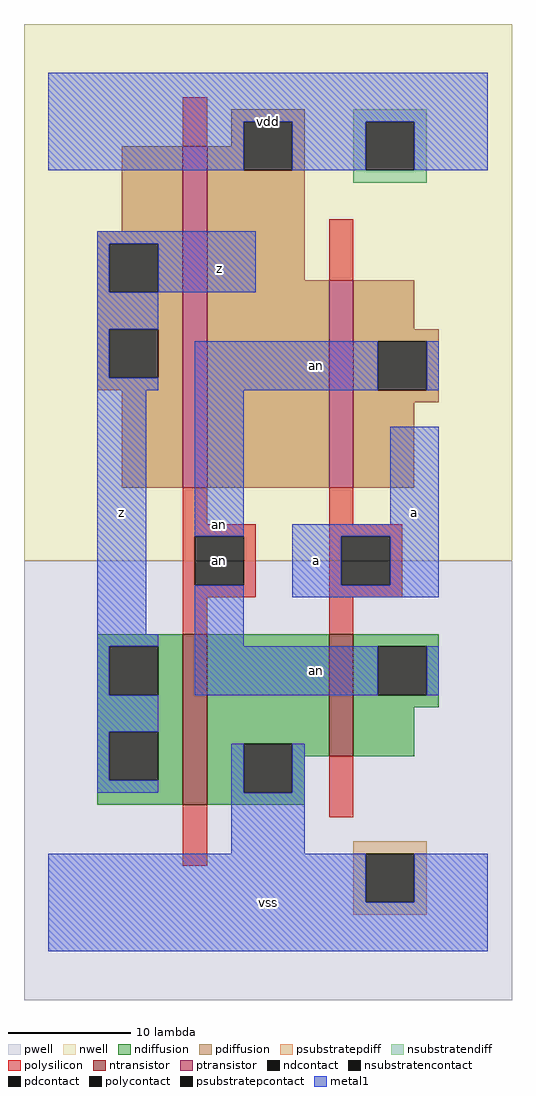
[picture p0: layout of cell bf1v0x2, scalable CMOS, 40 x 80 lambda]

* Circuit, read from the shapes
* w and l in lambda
.subckt bf1v0x2 a an vdd vss z
M1 vss an z vss nfet w=14 l=2
M2 an a vss vss nfet w=10 l=2
M3 vdd an z vdd pfet w=28 l=2
M4 an a vdd vdd pfet w=17 l=2
.ends

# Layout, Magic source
magic
tech scmos
<< pwell >>
rect -4 -4 36 32
<< nwell >>
rect -4 32 36 76
<< polysilicon >>
rect 9 66 11 70
rect 21 55 23 60
rect 9 35 11 38
rect 21 35 23 38
rect 9 34 15 35
rect 9 30 10 34
rect 14 30 15 34
rect 9 29 15 30
rect 21 34 27 35
rect 21 30 22 34
rect 26 30 27 34
rect 21 29 27 30
rect 9 26 11 29
rect 21 26 23 29
rect 9 7 11 12
rect 21 11 23 16
<< ndiffusion >>
rect 2 25 9 26
rect 2 21 3 25
rect 7 21 9 25
rect 2 18 9 21
rect 2 14 3 18
rect 7 14 9 18
rect 2 12 9 14
rect 11 17 21 26
rect 11 13 14 17
rect 18 16 21 17
rect 23 25 30 26
rect 23 21 25 25
rect 29 21 30 25
rect 23 20 30 21
rect 23 16 28 20
rect 18 13 19 16
rect 11 12 19 13
<< pdiffusion >>
rect 13 68 19 69
rect 13 66 14 68
rect 4 59 9 66
rect 2 58 9 59
rect 2 54 3 58
rect 7 54 9 58
rect 2 51 9 54
rect 2 47 3 51
rect 7 47 9 51
rect 2 46 9 47
rect 4 38 9 46
rect 11 64 14 66
rect 18 64 19 68
rect 11 55 19 64
rect 11 38 21 55
rect 23 51 28 55
rect 23 50 30 51
rect 23 46 25 50
rect 29 46 30 50
rect 23 45 30 46
rect 23 38 28 45
<< metal1 >>
rect -2 68 34 72
rect -2 64 14 68
rect 18 64 24 68
rect 28 64 34 68
rect 2 58 15 59
rect 2 54 3 58
rect 7 54 15 58
rect 2 51 7 54
rect 2 47 3 51
rect 2 46 7 47
rect 10 46 25 50
rect 29 46 30 50
rect 2 26 6 46
rect 10 34 14 46
rect 26 35 30 43
rect 2 25 7 26
rect 2 21 3 25
rect 10 25 14 30
rect 18 34 30 35
rect 18 30 22 34
rect 26 30 30 34
rect 18 29 30 30
rect 10 21 25 25
rect 29 21 30 25
rect 2 18 7 21
rect 2 14 3 18
rect 2 13 7 14
rect 13 13 14 17
rect 18 13 19 17
rect 13 8 19 13
rect -2 4 24 8
rect 28 4 34 8
rect -2 0 34 4
<< ntransistor >>
rect 9 12 11 26
rect 21 16 23 26
<< ptransistor >>
rect 9 38 11 66
rect 21 38 23 55
<< polycontact >>
rect 10 30 14 34
rect 22 30 26 34
<< ndcontact >>
rect 3 21 7 25
rect 3 14 7 18
rect 14 13 18 17
rect 25 21 29 25
<< pdcontact >>
rect 3 54 7 58
rect 3 47 7 51
rect 14 64 18 68
rect 25 46 29 50
<< psubstratepcontact >>
rect 24 4 28 8
<< nsubstratencontact >>
rect 24 64 28 68
<< psubstratepdiff >>
rect 23 8 29 9
rect 23 4 24 8
rect 28 4 29 8
rect 23 3 29 4
<< nsubstratendiff >>
rect 23 68 29 69
rect 23 64 24 68
rect 28 64 29 68
rect 23 63 29 64
<< labels >>
rlabel polycontact 12 32 12 32 6 an
rlabel metal1 4 36 4 36 6 z
rlabel metal1 12 35 12 35 6 an
rlabel metal1 12 56 12 56 6 z
rlabel metal1 16 4 16 4 6 vss
rlabel metal1 20 32 20 32 6 a
rlabel metal1 16 68 16 68 6 vdd
rlabel metal1 20 23 20 23 6 an
rlabel metal1 28 36 28 36 6 a
rlabel metal1 20 48 20 48 6 an
<< end >>
